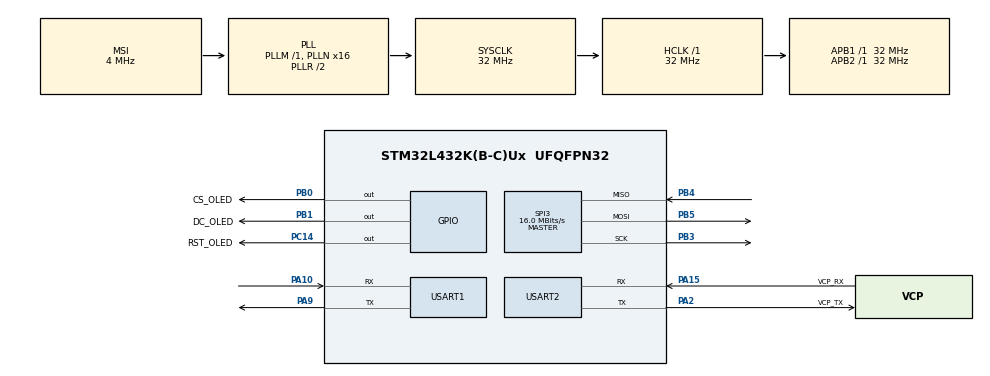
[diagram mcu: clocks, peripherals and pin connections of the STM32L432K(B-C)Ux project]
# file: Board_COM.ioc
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Mcu.Family=STM32L4
Mcu.Name=STM32L432K(B-C)Ux
Mcu.Package=UFQFPN32
NVIC.PriorityGroup=NVIC_PRIORITYGROUP_4
NVIC.USART1_IRQn=true\:0\:0\:false\:false\:true\:true\:true\:true
PA0.GPIO_Label=MCO [High speed clock in]
PA0.Mode=HSE-External-Clock-Source-for-LittleOrca
PA0.Signal=RCC_CK_IN
PA10.Mode=Asynchronous
PA10.Signal=USART1_RX
PA13\ (JTMS-SWDIO).GPIO_Label=SWDIO
PA13\ (JTMS-SWDIO).Mode=Serial_Wire
PA13\ (JTMS-SWDIO).Signal=SYS_JTMS-SWDIO
PA14\ (JTCK-SWCLK).GPIO_Label=SWCLK
PA14\ (JTCK-SWCLK).Mode=Serial_Wire
PA14\ (JTCK-SWCLK).Signal=SYS_JTCK-SWCLK
PA15\ (JTDI).GPIO_Label=VCP_RX
PA15\ (JTDI).Mode=Asynchronous
PA15\ (JTDI).Signal=USART2_RX
PA2.GPIO_Label=VCP_TX
PA2.Mode=Asynchronous
PA2.Signal=USART2_TX
PA9.Mode=Asynchronous
PA9.Signal=USART1_TX
PB0.GPIO_Label=CS_OLED
PB0.Signal=GPIO_Output
PB1.GPIO_Label=DC_OLED
PB1.Signal=GPIO_Output
PB3\ (JTDO-TRACESWO).Mode=Full_Duplex_Master
PB3\ (JTDO-TRACESWO).Signal=SPI3_SCK
PB4\ (NJTRST).Mode=Full_Duplex_Master
PB4\ (NJTRST).Signal=SPI3_MISO
PB5.Mode=Full_Duplex_Master
PB5.Signal=SPI3_MOSI
PC14-OSC32_IN\ (PC14).GPIO_Label=RST_OLED
PC14-OSC32_IN\ (PC14).Signal=GPIO_Output
ProjectManager.HeapSize=0x200
ProjectManager.StackSize=0x400
ProjectManager.TargetToolchain=STM32CubeIDE
RCC.AHBFreq_Value=32000000
RCC.APB1Freq_Value=32000000
RCC.APB1TimFreq_Value=32000000
RCC.APB2Freq_Value=32000000
RCC.APB2TimFreq_Value=32000000
RCC.CortexFreq_Value=32000000
RCC.HCLKFreq_Value=32000000
RCC.HSE_VALUE=8000000
RCC.HSI16_VALUE=16000000
RCC.HSI48_VALUE=48000000
RCC.HSI_VALUE=16000000
RCC.MSI_VALUE=4000000
RCC.PLLMUL=RCC_PLLMUL_4
RCC.PLLN=16
RCC.SYSCLKFreq_VALUE=32000000
RCC.SYSCLKSource=RCC_SYSCLKSOURCE_PLLCLK
RCC.VCOOutputFreq_Value=64000000
SPI3.CalculateBaudRate=16.0 MBits/s
SPI3.DataSize=SPI_DATASIZE_8BIT
SPI3.Direction=SPI_DIRECTION_2LINES
SPI3.Mode=SPI_MODE_MASTER
SPI3.VirtualType=VM_MASTER
USART1.VirtualMode-Asynchronous=VM_ASYNC
USART2.VirtualMode-Asynchronous=VM_ASYNC
board=NUCLEO-L432KC

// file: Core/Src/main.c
/* USER CODE BEGIN Header */
/**
  ******************************************************************************
  * @file           : main.c
  * @brief          : Main program body
  ******************************************************************************
  * @attention
  *
  * Copyright (c) 2026 STMicroelectronics.
  * All rights reserved.
  *
  * This software is licensed under terms that can be found in the LICENSE file
  * in the root directory of this software component.
  * If no LICENSE file comes with this software, it is provided AS-IS.
  *
  ******************************************************************************
  */
/* USER CODE END Header */
#include "main.h"

/* USER CODE BEGIN Includes */
#include <stdio.h>
#include <string.h>
#include "oledc.h"
#include "fonts.h"
#include "printf.h"
/* USER CODE END Includes */

/* USER CODE BEGIN PTD */
#define RX_BUFFER_SIZE 14
/* USER CODE END PTD */

SPI_HandleTypeDef hspi3;

UART_HandleTypeDef huart1;
UART_HandleTypeDef huart2;

/* USER CODE BEGIN PV */
char message[64];
uint8_t rx_buffer[RX_BUFFER_SIZE] = {0};
float roll  = 0.f;
float pitch = 0.f;
float yaw   = 0.f;
float heading = 0.f;
/* USER CODE END PV */

void SystemClock_Config(void);
static void MX_GPIO_Init(void);
static void MX_USART2_UART_Init(void);
static void MX_SPI3_Init(void);
static void MX_USART1_UART_Init(void);

int main(void)
{

  /* MCU Configuration--------------------------------------------------------*/

  /* Reset of all peripherals, Initializes the Flash interface and the Systick. */
  HAL_Init();

  /* Configure the system clock */
  SystemClock_Config();

  /* Initialize all configured peripherals */
  MX_GPIO_Init();
  MX_USART2_UART_Init();
  MX_SPI3_Init();
  MX_USART1_UART_Init();
  /* USER CODE BEGIN 2 */
  OLED_Init();
   OLED_DisplayColor(0xF800); HAL_Delay(300);  // Red test
   OLED_DisplayColor(0x07E0); HAL_Delay(300);  // Green test
   OLED_DisplayColor(0x001F); HAL_Delay(300);  // Blue test

  printf("\n\n-------Start Flightcontrol--------\n");

  HAL_UARTEx_ReceiveToIdle_IT(&huart1, rx_buffer, RX_BUFFER_SIZE);
  /* USER CODE END 2 */

  /* Infinite loop */
  /* USER CODE BEGIN WHILE */
  while (1)
  {
	  OLED_DrawCompass(heading);
    /* USER CODE END WHILE */

  }
}

void SystemClock_Config(void)
{
  RCC_OscInitTypeDef RCC_OscInitStruct = {0};
  RCC_ClkInitTypeDef RCC_ClkInitStruct = {0};

  /** Configure the main internal regulator output voltage
  */
  if (HAL_PWREx_ControlVoltageScaling(PWR_REGULATOR_VOLTAGE_SCALE1) != HAL_OK)
  {
    Error_Handler();
  }

  /** Initializes the RCC Oscillators according to the specified parameters
  * in the RCC_OscInitTypeDef structure.
  */
  RCC_OscInitStruct.OscillatorType = RCC_OSCILLATORTYPE_MSI;
  RCC_OscInitStruct.MSIState = RCC_MSI_ON;
  RCC_OscInitStruct.MSICalibrationValue = 0;
  RCC_OscInitStruct.MSIClockRange = RCC_MSIRANGE_6;
  RCC_OscInitStruct.PLL.PLLState = RCC_PLL_ON;
  RCC_OscInitStruct.PLL.PLLSource = RCC_PLLSOURCE_MSI;
  RCC_OscInitStruct.PLL.PLLM = 1;
  RCC_OscInitStruct.PLL.PLLN = 16;
  RCC_OscInitStruct.PLL.PLLP = RCC_PLLP_DIV7;
  RCC_OscInitStruct.PLL.PLLQ = RCC_PLLQ_DIV2;
  RCC_OscInitStruct.PLL.PLLR = RCC_PLLR_DIV2;
  if (HAL_RCC_OscConfig(&RCC_OscInitStruct) != HAL_OK)
  {
    Error_Handler();
  }

  /** Initializes the CPU, AHB and APB buses clocks
  */
  RCC_ClkInitStruct.ClockType = RCC_CLOCKTYPE_HCLK|RCC_CLOCKTYPE_SYSCLK
                              |RCC_CLOCKTYPE_PCLK1|RCC_CLOCKTYPE_PCLK2;
  RCC_ClkInitStruct.SYSCLKSource = RCC_SYSCLKSOURCE_PLLCLK;
  RCC_ClkInitStruct.AHBCLKDivider = RCC_SYSCLK_DIV1;
  RCC_ClkInitStruct.APB1CLKDivider = RCC_HCLK_DIV1;
  RCC_ClkInitStruct.APB2CLKDivider = RCC_HCLK_DIV1;

  if (HAL_RCC_ClockConfig(&RCC_ClkInitStruct, FLASH_LATENCY_1) != HAL_OK)
  {
    Error_Handler();
  }
}

static void MX_SPI3_Init(void)
{

  /* SPI3 parameter configuration*/
  hspi3.Instance = SPI3;
  hspi3.Init.Mode = SPI_MODE_MASTER;
  hspi3.Init.Direction = SPI_DIRECTION_2LINES;
  hspi3.Init.DataSize = SPI_DATASIZE_8BIT;
  hspi3.Init.CLKPolarity = SPI_POLARITY_LOW;
  hspi3.Init.CLKPhase = SPI_PHASE_1EDGE;
  hspi3.Init.NSS = SPI_NSS_SOFT;
  hspi3.Init.BaudRatePrescaler = SPI_BAUDRATEPRESCALER_2;
  hspi3.Init.FirstBit = SPI_FIRSTBIT_MSB;
  hspi3.Init.TIMode = SPI_TIMODE_DISABLE;
  hspi3.Init.CRCCalculation = SPI_CRCCALCULATION_DISABLE;
  hspi3.Init.CRCPolynomial = 7;
  hspi3.Init.CRCLength = SPI_CRC_LENGTH_DATASIZE;
  hspi3.Init.NSSPMode = SPI_NSS_PULSE_ENABLE;
  if (HAL_SPI_Init(&hspi3) != HAL_OK)
  {
    Error_Handler();
  }

}

static void MX_USART1_UART_Init(void)
{

  huart1.Instance = USART1;
  huart1.Init.BaudRate = 115200;
  huart1.Init.WordLength = UART_WORDLENGTH_8B;
  huart1.Init.StopBits = UART_STOPBITS_1;
  huart1.Init.Parity = UART_PARITY_NONE;
  huart1.Init.Mode = UART_MODE_TX_RX;
  huart1.Init.HwFlowCtl = UART_HWCONTROL_NONE;
  huart1.Init.OverSampling = UART_OVERSAMPLING_16;
  huart1.Init.OneBitSampling = UART_ONE_BIT_SAMPLE_DISABLE;
  huart1.AdvancedInit.AdvFeatureInit = UART_ADVFEATURE_NO_INIT;
  if (HAL_UART_Init(&huart1) != HAL_OK)
  {
    Error_Handler();
  }

}

static void MX_USART2_UART_Init(void)
{

  huart2.Instance = USART2;
  huart2.Init.BaudRate = 115200;
  huart2.Init.WordLength = UART_WORDLENGTH_8B;
  huart2.Init.StopBits = UART_STOPBITS_1;
  huart2.Init.Parity = UART_PARITY_NONE;
  huart2.Init.Mode = UART_MODE_TX_RX;
  huart2.Init.HwFlowCtl = UART_HWCONTROL_NONE;
  huart2.Init.OverSampling = UART_OVERSAMPLING_16;
  huart2.Init.OneBitSampling = UART_ONE_BIT_SAMPLE_DISABLE;
  huart2.AdvancedInit.AdvFeatureInit = UART_ADVFEATURE_NO_INIT;
  if (HAL_UART_Init(&huart2) != HAL_OK)
  {
    Error_Handler();
  }

}

static void MX_GPIO_Init(void)
{
  GPIO_InitTypeDef GPIO_InitStruct = {0};

  /* GPIO Ports Clock Enable */
  __HAL_RCC_GPIOC_CLK_ENABLE();
  __HAL_RCC_GPIOA_CLK_ENABLE();
  __HAL_RCC_GPIOB_CLK_ENABLE();

  /*Configure GPIO pin Output Level */
  HAL_GPIO_WritePin(RST_OLED_GPIO_Port, RST_OLED_Pin, GPIO_PIN_RESET);

  /*Configure GPIO pin Output Level */
  HAL_GPIO_WritePin(GPIOB, CS_OLED_Pin|DC_OLED_Pin, GPIO_PIN_RESET);

  /*Configure GPIO pin : RST_OLED_Pin */
  GPIO_InitStruct.Pin = RST_OLED_Pin;
  GPIO_InitStruct.Mode = GPIO_MODE_OUTPUT_PP;
  GPIO_InitStruct.Pull = GPIO_NOPULL;
  GPIO_InitStruct.Speed = GPIO_SPEED_FREQ_LOW;
  HAL_GPIO_Init(RST_OLED_GPIO_Port, &GPIO_InitStruct);

  /*Configure GPIO pins : CS_OLED_Pin DC_OLED_Pin */
  GPIO_InitStruct.Pin = CS_OLED_Pin|DC_OLED_Pin;
  GPIO_InitStruct.Mode = GPIO_MODE_OUTPUT_PP;
  GPIO_InitStruct.Pull = GPIO_NOPULL;
  GPIO_InitStruct.Speed = GPIO_SPEED_FREQ_LOW;
  HAL_GPIO_Init(GPIOB, &GPIO_InitStruct);

}

/* USER CODE BEGIN 4 */
void HAL_UARTEx_RxEventCallback(UART_HandleTypeDef *huart, uint16_t Size){
	if (huart->Instance == USART1)
	    {
	        if (rx_buffer[0] == 0xAA && rx_buffer[1] == 0x33)	//2tes Stm board....IMU
	        {
	            memcpy(&roll,  &rx_buffer[2],  4);
	            memcpy(&pitch, &rx_buffer[6],  4);
	            memcpy(&yaw,   &rx_buffer[10], 4);

	            snprintf(message, sizeof(message),"ROLL=%.2f PITCH=%.2f YAW=%.2f\n",roll, pitch, yaw);
	            HAL_UART_Transmit(&huart2, (uint8_t*)message, strlen(message), HAL_MAX_DELAY);
	        }

	        if (rx_buffer[0] == 0xAA && rx_buffer[1] == 0x44)	//2tes Stm board....Kompass
	        {
	            memcpy(&heading,  &rx_buffer[2],  4);
	            printf("Heading: %f\n", heading);
	        }

	        HAL_UARTEx_ReceiveToIdle_IT(&huart1, rx_buffer, RX_BUFFER_SIZE);
	    }
}
/* USER CODE END 4 */

void Error_Handler(void)
{
  /* USER CODE BEGIN Error_Handler_Debug */
  /* User can add his own implementation to report the HAL error return state */
  __disable_irq();
  printf("ERRORHANDLER");
  while (1)
  {
  }
  /* USER CODE END Error_Handler_Debug */
}
